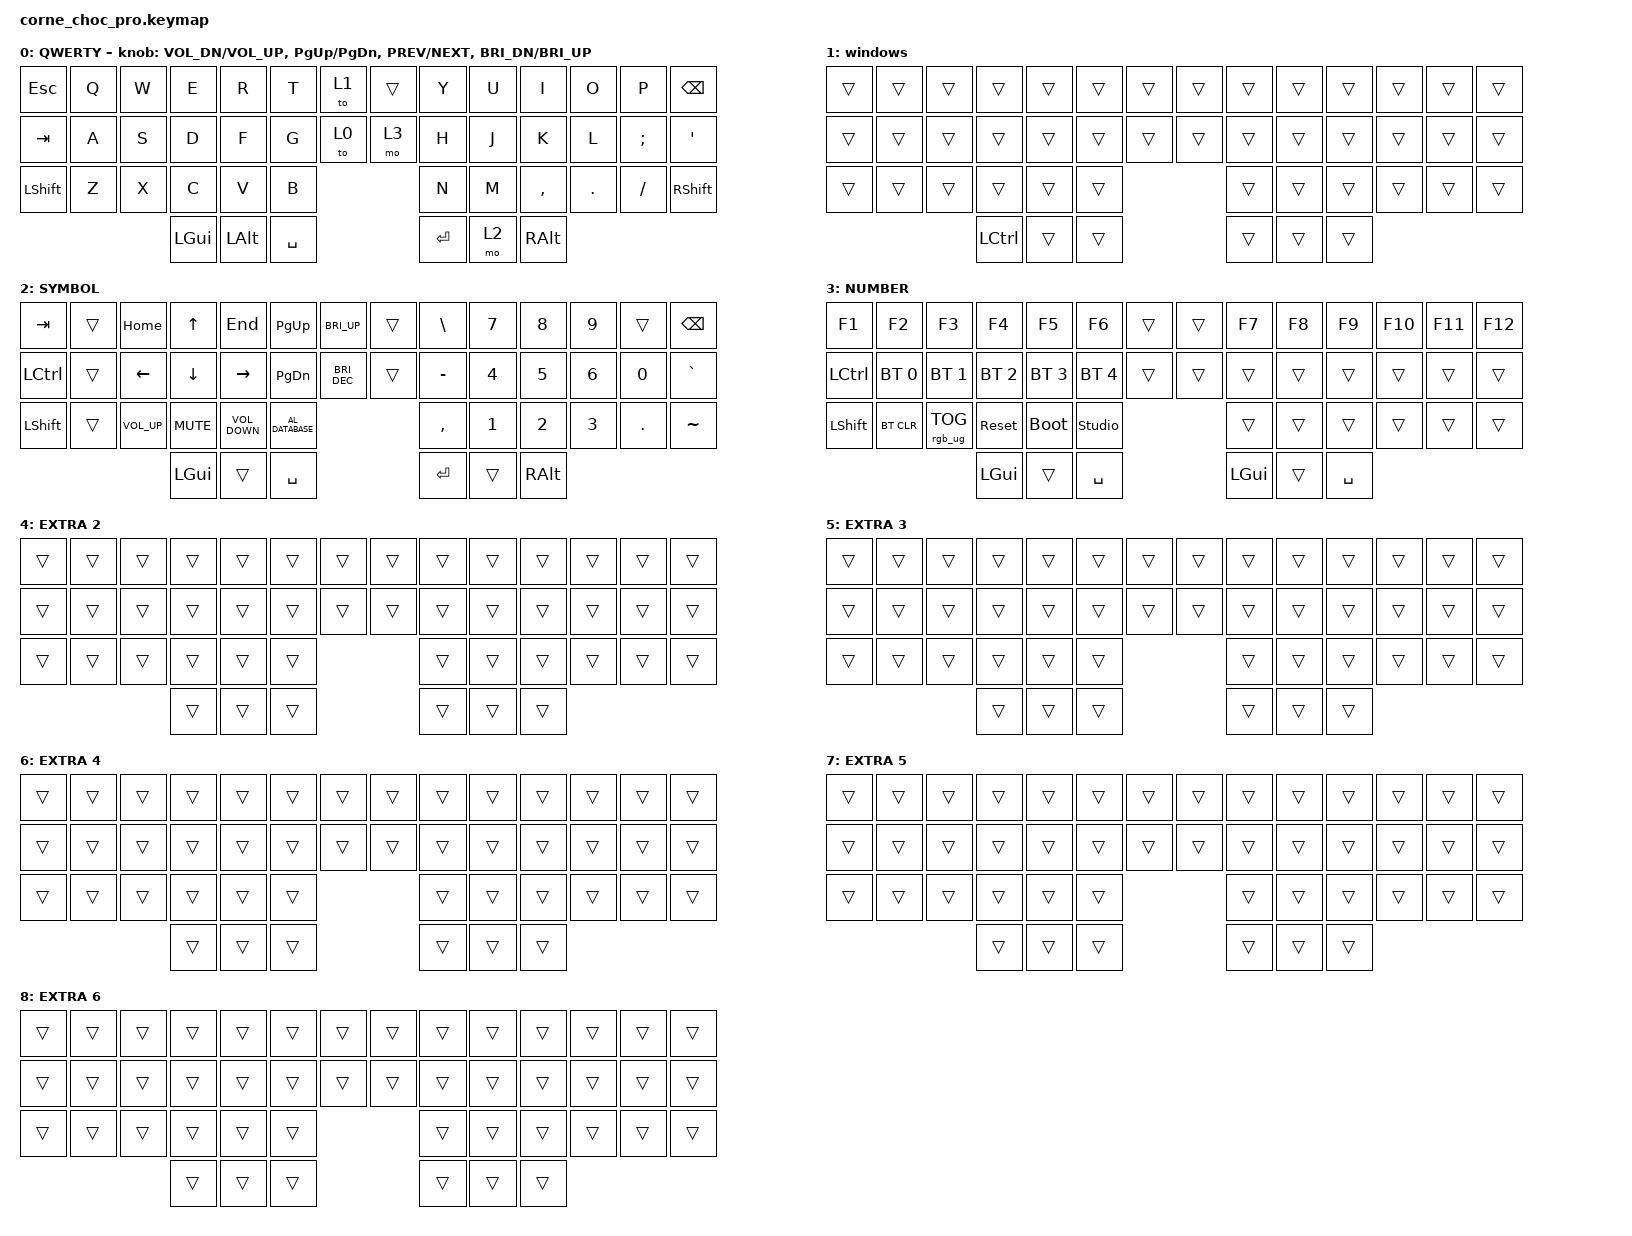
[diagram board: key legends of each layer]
/*
 * Copyright (c) 2020 The ZMK Contributors
 *
 * SPDX-License-Identifier: MIT
 */

#include <behaviors.dtsi>
#include <dt-bindings/zmk/bt.h>
#include <dt-bindings/zmk/keys.h>
#include <dt-bindings/zmk/rgb.h>

/ {
    chosen { zmk,physical-layout = &default_layout; };
};

/ {
    keymap {
        compatible = "zmk,keymap";

        default_layer {
            display-name = "QWERTY";

            // --------------------------------------------------------------------------------
            // |  TAB |  Q  |  W  |  E  |  R  |  T  |  MUTE |  PP   |  Y  |  U   |  I  |  O  |  P  | BSPC |
            // | CTRL |  A  |  S  |  D  |  F  |  G  |  LALT |  RALT |  H  |  J   |  K  |  L  |  ;  |  '   |
            // | SHFT |  Z  |  X  |  C  |  V  |  B  |               |  N  |  M   |  ,  |  .  |  /  | ESC  |
            //                    | GUI | LWR | SPC |               | ENT | RSE  | ALT |

            bindings = <
&kp ESC    &kp Q  &kp W  &kp E     &kp R     &kp T      &to 1  &trans  &kp Y    &kp U  &kp I      &kp O    &kp P     &kp BSPC
&kp TAB    &kp A  &kp S  &kp D     &kp F     &kp G      &to 0  &mo 3   &kp H    &kp J  &kp K      &kp L    &kp SEMI  &kp SQT
&kp LSHFT  &kp Z  &kp X  &kp C     &kp V     &kp B                     &kp N    &kp M  &kp COMMA  &kp DOT  &kp FSLH  &kp RIGHT_SHIFT
                         &kp LGUI  &kp LALT  &kp SPACE                 &kp RET  &mo 2  &kp RALT
            >;

            sensor-bindings = <&inc_dec_kp C_VOL_DN C_VOL_UP &inc_dec_kp PG_UP PG_DN &inc_dec_kp C_PREV C_NEXT &inc_dec_kp C_BRI_DN C_BRI_UP>;
        };

        WINDOWS {
            display-name = "windows";
            bindings = <
&trans  &trans  &trans  &trans     &trans  &trans  &trans  &trans  &trans  &trans  &trans  &trans  &trans  &trans
&trans  &trans  &trans  &trans     &trans  &trans  &trans  &trans  &trans  &trans  &trans  &trans  &trans  &trans
&trans  &trans  &trans  &trans     &trans  &trans                  &trans  &trans  &trans  &trans  &trans  &trans
                        &kp LCTRL  &trans  &trans                  &trans  &trans  &trans
            >;
        };

        raise_layer {
            display-name = "SYMBOL";

            // -----------------------------------------------------------------------------------------
            // |  TAB |  !  |  @  |  #  |  $  |  %  | LCTRL | RCTRL |  ^  |  &  |  *  |  (  |  )  | BSPC |
            // | CTRL |     |     |     |     |     |  LALT | RALT  |  -  |  =  |  [  |  ]  |  \  |  `   |
            // | SHFT |     |     |     |     |     |               |  _  |  +  |  {  |  }  | "|" |  ~   |
            //                    | GUI |     | SPC |               | ENT |     | ALT |

            bindings = <
&kp TAB    &trans  &kp HOME         &kp UP_ARROW  &kp END            &kp PAGE_UP        &kp C_BRI_UP          &trans  &kp BACKSLASH  &kp N7        &kp N8        &kp N9        &trans   &kp BSPC
&kp LCTRL  &trans  &kp LEFT         &kp DOWN      &kp RIGHT          &kp PAGE_DOWN      &kp C_BRIGHTNESS_DEC  &trans  &kp MINUS      &kp NUMBER_4  &kp N5        &kp NUMBER_6  &kp N0   &kp GRAVE
&kp LSHFT  &trans  &kp C_VOLUME_UP  &kp K_MUTE    &kp C_VOLUME_DOWN  &kp C_AL_DATABASE                                &kp COMMA      &kp NUMBER_1  &kp NUMBER_2  &kp NUMBER_3  &kp DOT  &kp TILDE
                                    &kp LGUI      &trans             &kp SPACE                                        &kp RET        &trans        &kp RALT
            >;
        };

        lower_layer {
            display-name = "NUMBER";

            // -----------------------------------------------------------------------------------------
            // |  TAB |  1  |  2  |  3  |  4  |  5    |  LCTRL | RCTRL |  6  |  7  |  8  |  9  |  0  | BSPC |
            // | CTRL | BT1 | BT2 | BT3 | BT4 | BT5   |  LALT  | RALT  | LFT | DWN |  UP | RGT |     |      |
            // | SHFT | BTCR| RGB | RST | BOOT| Unlock|        |       |     |     |     |     |     |      |
            //                    | GUI |     | SPC   |        | ENT   |     | ALT |

            bindings = <
&kp F1     &kp F2        &kp F3           &kp F4        &kp F5        &kp F6          &trans  &trans  &kp F7    &kp F8  &kp F9     &kp F10  &kp F11  &kp F12
&kp LCTRL  &bt BT_SEL 0  &bt BT_SEL 1     &bt BT_SEL 2  &bt BT_SEL 3  &bt BT_SEL 4    &trans  &trans  &trans    &trans  &trans     &trans   &trans   &trans
&kp LSHFT  &bt BT_CLR    &rgb_ug RGB_TOG  &sys_reset    &bootloader   &studio_unlock                  &trans    &trans  &trans     &trans   &trans   &trans
                                          &kp LGUI      &trans        &kp SPACE                       &kp LGUI  &trans  &kp SPACE
            >;
        };

        extra_layer_2 {
            display-name = "EXTRA 2";
            bindings = <
&trans  &trans  &trans  &trans  &trans  &trans  &trans  &trans  &trans  &trans  &trans  &trans  &trans  &trans
&trans  &trans  &trans  &trans  &trans  &trans  &trans  &trans  &trans  &trans  &trans  &trans  &trans  &trans
&trans  &trans  &trans  &trans  &trans  &trans                  &trans  &trans  &trans  &trans  &trans  &trans
                        &trans  &trans  &trans                  &trans  &trans  &trans
            >;
        };

        extra_layer_3 {
            display-name = "EXTRA 3";
            bindings = <
&trans  &trans  &trans  &trans  &trans  &trans  &trans  &trans  &trans  &trans  &trans  &trans  &trans  &trans
&trans  &trans  &trans  &trans  &trans  &trans  &trans  &trans  &trans  &trans  &trans  &trans  &trans  &trans
&trans  &trans  &trans  &trans  &trans  &trans                  &trans  &trans  &trans  &trans  &trans  &trans
                        &trans  &trans  &trans                  &trans  &trans  &trans
            >;
        };

        extra_layer_4 {
            display-name = "EXTRA 4";
            bindings = <
&trans  &trans  &trans  &trans  &trans  &trans  &trans  &trans  &trans  &trans  &trans  &trans  &trans  &trans
&trans  &trans  &trans  &trans  &trans  &trans  &trans  &trans  &trans  &trans  &trans  &trans  &trans  &trans
&trans  &trans  &trans  &trans  &trans  &trans                  &trans  &trans  &trans  &trans  &trans  &trans
                        &trans  &trans  &trans                  &trans  &trans  &trans
            >;
        };

        extra_layer_5 {
            display-name = "EXTRA 5";
            bindings = <
&trans  &trans  &trans  &trans  &trans  &trans  &trans  &trans  &trans  &trans  &trans  &trans  &trans  &trans
&trans  &trans  &trans  &trans  &trans  &trans  &trans  &trans  &trans  &trans  &trans  &trans  &trans  &trans
&trans  &trans  &trans  &trans  &trans  &trans                  &trans  &trans  &trans  &trans  &trans  &trans
                        &trans  &trans  &trans                  &trans  &trans  &trans
            >;
        };

        extra_layer_6 {
            display-name = "EXTRA 6";
            bindings = <
&trans  &trans  &trans  &trans  &trans  &trans  &trans  &trans  &trans  &trans  &trans  &trans  &trans  &trans
&trans  &trans  &trans  &trans  &trans  &trans  &trans  &trans  &trans  &trans  &trans  &trans  &trans  &trans
&trans  &trans  &trans  &trans  &trans  &trans                  &trans  &trans  &trans  &trans  &trans  &trans
                        &trans  &trans  &trans                  &trans  &trans  &trans
            >;
        };
    };
};
